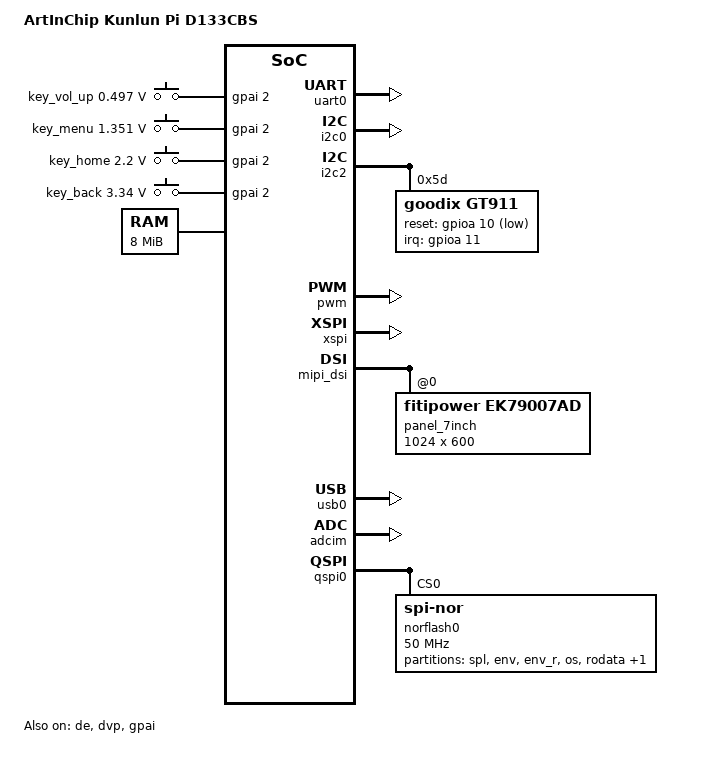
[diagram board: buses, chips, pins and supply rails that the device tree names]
/*
 * SPDX-FileCopyrightText: Copyright (c) 2026 UltraSemi Technology Development Co., Ltd.
 * SPDX-License-Identifier: Apache-2.0
 */

/dts-v1/;

#include <artinchip/d13x.dtsi>
#include <zephyr/dt-bindings/gpio/gpio.h>
#include <zephyr/dt-bindings/mipi_dsi/mipi_dsi.h>
#include "artinchip_kunlunpi_d133cbs-pinctrl.dtsi"

#include <zephyr/dt-bindings/input/input-event-codes.h>

/ {
	model = "ArtInChip Kunlun Pi D133CBS";
	compatible = "artinchip,kunlunpi-d133cbs";

	chosen {
		zephyr,sram = &sram0;
		zephyr,console = &uart0;
		zephyr,shell-uart = &uart0;
		zephyr,display = &de;
		zephyr,touch = &gt911;
		zephyr,camera = &dvp;
	};

	adc_keys: adc-keys {
		compatible = "adc-keys";
		io-channels = <&gpai 2>;
		/* No key pressed: GPAI reads near Vref (luban keyadc scale 50 mV). */
		keyup-threshold-mv = <3600>;
		sample-period-ms = <20>;

		/*
		 * Resistor-ladder thresholds from luban-lite test-keyadc (ch2 / PA.2),
		 * plus a 4th step interpolated for the extra key on Kunlun Pi.
		 * Re-calibrate on hardware if needed.
		 */
		key_vol_up {
			press-thresholds-mv = <497>;
			zephyr,code = <INPUT_KEY_VOLUMEUP>;
		};

		key_menu {
			press-thresholds-mv = <1351>;
			zephyr,code = <INPUT_KEY_MENU>;
		};

		key_home {
			press-thresholds-mv = <2200>;
			zephyr,code = <INPUT_KEY_HOME>;
		};

		key_back {
			press-thresholds-mv = <3340>;
			zephyr,code = <INPUT_KEY_BACK>;
		};
	};

	psram0: memory@40000000 {
		compatible = "zephyr,memory-region";
		reg = <0x40000000 DT_SIZE_M(8)>;
		zephyr,memory-region = "PSRAM";
	};
};

&sram0 {
	/*
	 * Official Kunlun Pi configuration has no TCM or SRAM-S1 and reserves
	 * the top 256 KiB of the 1 MiB SRAM window for the bootloader.
	 */
	reg = <0x30040000 0xC0000>;
};

&uart0 {
	pinctrl-0 = <&uart0_default>;
	pinctrl-names = "default";
	status = "okay";
};

&i2c0 {
	pinctrl-0 = <&i2c0_default>;
	pinctrl-names = "default";
	status = "okay";
};

&i2c2 {
	pinctrl-0 = <&i2c2_default>;
	pinctrl-names = "default";
	status = "okay";

	gt911: gt911@5d {
		compatible = "goodix,gt911";
		reg = <0x5d>;
		alt-addr = <0x14>;
		reset-gpios = <&gpioa 10 GPIO_ACTIVE_LOW>;
		irq-gpios = <&gpioa 11 GPIO_ACTIVE_HIGH>;
		screen-width = <1024>;
		screen-height = <600>;
		status = "okay";
	};
};

&pwm {
	pinctrl-0 = <&pwm2_default>;
	pinctrl-names = "default";
	status = "okay";
};

&xspi {
	memory-region = <&psram0>;
	artinchip,bootloader-configured;
	status = "okay";
};

&mipi_dsi {
	status = "okay";

	panel_7inch: panel@0 {
		compatible = "fitipower,ek79007ad";
		reg = <0>;
		width = <1024>;
		height = <600>;
		data-lanes = <4>;
		pixel-format = <MIPI_DSI_PIXFMT_RGB888>;
		status = "okay";
	};
};

&de {
	width = <1024>;
	height = <600>;
	hfront-porch = <160>;
	hback-porch = <160>;
	hsync-len = <20>;
	vfront-porch = <12>;
	vback-porch = <20>;
	vsync-len = <2>;
	framebuffer-address = <0x40000000>;
	framebuffer-size = <0x12c000>;
	status = "okay";
};

&dvp {
	pinctrl-0 = <&dvp_default>;
	pinctrl-names = "default";
	status = "okay";
};

&usb0 {
	status = "okay";
};

&adcim {
	status = "okay";
};

&gpai {
	pinctrl-0 = <&gpai2_default>;
	pinctrl-names = "default";
	status = "okay";
};

/* The bootloader accesses this flash even when Zephyr's QSPI driver is disabled.
 * Keep the complete AirBurn layout here so overlays and packaging share it.
 */
/ {
	aliases {
		airburn-flash = &norflash0;
	};
};

&qspi0 {
	norflash0: nor-flash@0 {
		compatible = "jedec,spi-nor";
		reg = <0>;
		spi-max-frequency = <DT_FREQ_M(50)>;
		/* jedec,spi-nor capacity is in bits: 128 Mbit = 16 MiB. */
		size = <DT_SIZE_M(128)>;

		partitions {
			compatible = "fixed-partitions";
			#address-cells = <1>;
			#size-cells = <1>;

			spl_partition: partition@0 {
				label = "spl";
				reg = <0x0 0x80000>;
			};

			env_partition: partition@80000 {
				label = "env";
				reg = <0x80000 0x20000>;
			};

			env_r_partition: partition@a0000 {
				label = "env_r";
				reg = <0xa0000 0x20000>;
			};

			os_partition: partition@c0000 {
				label = "os";
				reg = <0xc0000 0x200000>;
			};

			rodata_partition: partition@2c0000 {
				label = "rodata";
				reg = <0x2c0000 0x900000>;
			};

			storage_partition: partition@bc0000 {
				label = "data";
				reg = <0xbc0000 0x100000>;
			};
		};
	};
};
